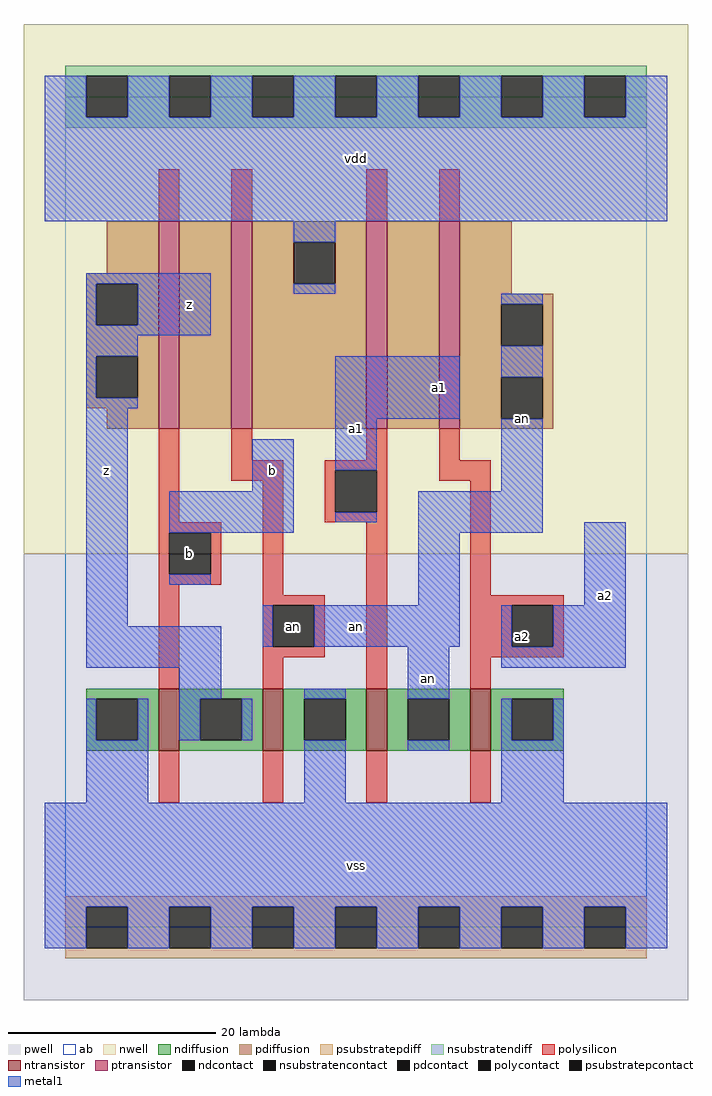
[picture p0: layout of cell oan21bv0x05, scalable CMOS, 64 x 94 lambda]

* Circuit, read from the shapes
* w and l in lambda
.subckt oan21bv0x05 a1 a2 an b vdd vss z
M1 z b vss vss nfet w=6 l=2
M2 vss an z vss nfet w=6 l=2
M3 an a1 vss vss nfet w=6 l=2
M4 vss a2 an vss nfet w=6 l=2
M5 n1 b z vdd pfet w=20 l=2
M6 vdd an n1 vdd pfet w=20 l=2
M7 n2 a1 vdd vdd pfet w=20 l=2
M8 an a2 n2 vdd pfet w=20 l=2
.ends

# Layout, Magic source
magic
tech scmos
<< ab >>
rect 0 0 56 80
<< pwell >>
rect -4 -7 60 36
<< nwell >>
rect -4 36 60 87
<< polysilicon >>
rect 9 68 11 73
rect 16 68 18 73
rect 29 68 31 73
rect 36 68 38 73
rect 9 39 11 48
rect 16 45 18 48
rect 29 45 31 48
rect 16 43 21 45
rect 9 38 15 39
rect 9 34 10 38
rect 14 34 15 38
rect 9 33 15 34
rect 9 23 11 33
rect 19 32 21 43
rect 25 44 31 45
rect 25 40 26 44
rect 30 40 31 44
rect 36 45 38 48
rect 36 43 41 45
rect 25 39 31 40
rect 19 31 25 32
rect 19 27 20 31
rect 24 27 25 31
rect 19 26 25 27
rect 19 23 21 26
rect 29 23 31 39
rect 39 32 41 43
rect 39 31 48 32
rect 39 27 43 31
rect 47 27 48 31
rect 39 26 48 27
rect 39 23 41 26
rect 9 12 11 17
rect 19 12 21 17
rect 29 12 31 17
rect 39 12 41 17
<< ndiffusion >>
rect 2 22 9 23
rect 2 18 3 22
rect 7 18 9 22
rect 2 17 9 18
rect 11 22 19 23
rect 11 18 13 22
rect 17 18 19 22
rect 11 17 19 18
rect 21 22 29 23
rect 21 18 23 22
rect 27 18 29 22
rect 21 17 29 18
rect 31 22 39 23
rect 31 18 33 22
rect 37 18 39 22
rect 31 17 39 18
rect 41 22 48 23
rect 41 18 43 22
rect 47 18 48 22
rect 41 17 48 18
<< pdiffusion >>
rect 4 63 9 68
rect 2 62 9 63
rect 2 58 3 62
rect 7 58 9 62
rect 2 55 9 58
rect 2 51 3 55
rect 7 51 9 55
rect 2 50 9 51
rect 4 48 9 50
rect 11 48 16 68
rect 18 66 29 68
rect 18 62 22 66
rect 26 62 29 66
rect 18 48 29 62
rect 31 48 36 68
rect 38 61 43 68
rect 38 60 47 61
rect 38 56 42 60
rect 46 56 47 60
rect 38 53 47 56
rect 38 49 42 53
rect 46 49 47 53
rect 38 48 47 49
<< metal1 >>
rect -2 78 2 82
rect 6 78 10 82
rect 14 78 18 82
rect 22 78 26 82
rect 30 78 34 82
rect 38 78 42 82
rect 46 78 50 82
rect 54 78 58 82
rect -2 68 58 78
rect 22 66 26 68
rect 2 62 14 63
rect 2 58 3 62
rect 7 58 14 62
rect 22 61 26 62
rect 2 57 14 58
rect 42 60 46 61
rect 2 55 7 57
rect 2 51 3 55
rect 2 50 7 51
rect 2 29 6 50
rect 26 49 38 55
rect 42 53 46 56
rect 18 42 22 47
rect 10 38 22 42
rect 26 44 30 49
rect 42 42 46 49
rect 26 39 30 40
rect 34 38 46 42
rect 10 33 14 34
rect 34 31 38 38
rect 50 31 54 39
rect 2 25 15 29
rect 19 27 20 31
rect 24 27 38 31
rect 42 27 43 31
rect 47 27 54 31
rect 11 22 15 25
rect 23 22 27 23
rect 2 18 3 22
rect 7 18 8 22
rect 11 18 13 22
rect 17 18 18 22
rect 2 12 8 18
rect 23 12 27 18
rect 33 22 37 27
rect 42 25 54 27
rect 33 17 37 18
rect 42 18 43 22
rect 47 18 48 22
rect 42 12 48 18
rect -2 2 58 12
rect -2 -2 2 2
rect 6 -2 10 2
rect 14 -2 18 2
rect 22 -2 26 2
rect 30 -2 34 2
rect 38 -2 42 2
rect 46 -2 50 2
rect 54 -2 58 2
<< ntransistor >>
rect 9 17 11 23
rect 19 17 21 23
rect 29 17 31 23
rect 39 17 41 23
<< ptransistor >>
rect 9 48 11 68
rect 16 48 18 68
rect 29 48 31 68
rect 36 48 38 68
<< polycontact >>
rect 10 34 14 38
rect 26 40 30 44
rect 20 27 24 31
rect 43 27 47 31
<< ndcontact >>
rect 3 18 7 22
rect 13 18 17 22
rect 23 18 27 22
rect 33 18 37 22
rect 43 18 47 22
<< pdcontact >>
rect 3 58 7 62
rect 3 51 7 55
rect 22 62 26 66
rect 42 56 46 60
rect 42 49 46 53
<< psubstratepcontact >>
rect 2 -2 6 2
rect 10 -2 14 2
rect 18 -2 22 2
rect 26 -2 30 2
rect 34 -2 38 2
rect 42 -2 46 2
rect 50 -2 54 2
<< nsubstratencontact >>
rect 2 78 6 82
rect 10 78 14 82
rect 18 78 22 82
rect 26 78 30 82
rect 34 78 38 82
rect 42 78 46 82
rect 50 78 54 82
<< psubstratepdiff >>
rect 0 2 56 3
rect 0 -2 2 2
rect 6 -2 10 2
rect 14 -2 18 2
rect 22 -2 26 2
rect 30 -2 34 2
rect 38 -2 42 2
rect 46 -2 50 2
rect 54 -2 56 2
rect 0 -3 56 -2
<< nsubstratendiff >>
rect 0 82 56 83
rect 0 78 2 82
rect 6 78 10 82
rect 14 78 18 82
rect 22 78 26 82
rect 30 78 34 82
rect 38 78 42 82
rect 46 78 50 82
rect 54 78 56 82
rect 0 77 56 78
<< labels >>
rlabel polycontact 22 29 22 29 6 an
rlabel metal1 4 44 4 44 6 z
rlabel polycontact 12 36 12 36 6 b
rlabel metal1 20 44 20 44 6 b
rlabel metal1 12 60 12 60 6 z
rlabel metal1 28 6 28 6 6 vss
rlabel metal1 35 24 35 24 6 an
rlabel metal1 28 29 28 29 6 an
rlabel metal1 28 48 28 48 6 a1
rlabel metal1 36 52 36 52 6 a1
rlabel metal1 28 74 28 74 6 vdd
rlabel polycontact 44 28 44 28 6 a2
rlabel metal1 52 32 52 32 6 a2
rlabel metal1 44 49 44 49 6 an
<< end >>
